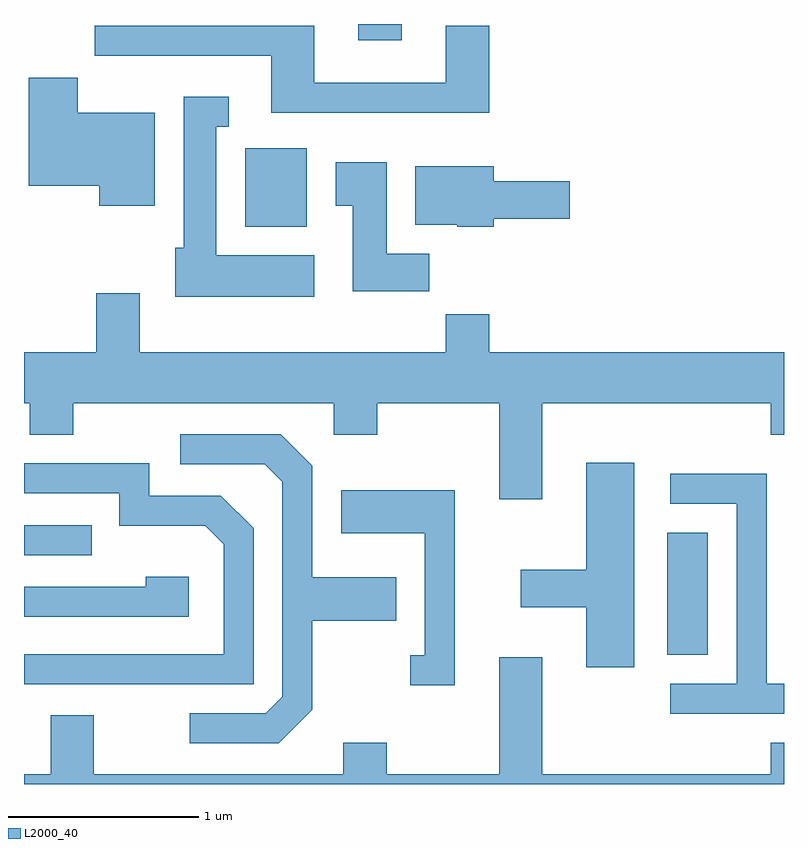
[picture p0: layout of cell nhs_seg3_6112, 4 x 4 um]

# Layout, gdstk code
import gdstk
lib = gdstk.Library(unit=1e-6, precision=1e-09)
def R(c, l, rs):  # rectangles x0, y0, x1, y1
    for r in rs: c.add(gdstk.rectangle(r[:2], r[2:], *l))
def P(c, l, *ps):  # polygons
    for p in ps: c.add(gdstk.Polygon(p, *l))
L2000_40 = (2000, 40)

nhs_seg3_6112 = lib.new_cell('nhs_seg3_6112')
R(nhs_seg3_6112, L2000_40, [(366.996,1244.571,367.209,1245.214), (363.611,1245.096,363.968,1245.254), (364.776,1246.826,365.099,1247.239), (365.371,1247.806,365.599,1247.892)])
P(nhs_seg3_6112, L2000_40, [(366.059,1247.884),(365.831,1247.884),(365.831,1247.584),(365.139,1247.584),(365.139,1247.884),(363.983,1247.884),(363.983,1247.726),(364.911,1247.726),(364.911,1247.426),(366.059,1247.426)],
  [(364.299,1247.424),(363.894,1247.424),(363.894,1247.609),(363.636,1247.609),(363.636,1247.041),(364.006,1247.041),(364.006,1246.936),(364.299,1246.936)],
  [(365.139,1246.674),(364.624,1246.674),(364.624,1247.351),(364.688,1247.351),(364.688,1247.509),(364.451,1247.509),(364.451,1246.714),(364.406,1246.714),(364.406,1246.456),(365.139,1246.456)],
  [(365.744,1246.684),(365.519,1246.684),(365.519,1247.164),(365.251,1247.164),(365.251,1246.936),(365.341,1246.936),(365.341,1246.486),(365.744,1246.486)],
  [(366.084,1246.866),(366.484,1246.866),(366.484,1247.064),(366.084,1247.064),(366.084,1247.144),(365.671,1247.144),(365.671,1246.836),(365.89,1246.836),(365.89,1246.826),(366.084,1246.826)],
  [(366.339,1245.896),(367.541,1245.896),(367.541,1245.731),(367.611,1245.731),(367.611,1246.164),(366.059,1246.164),(366.059,1246.364),(365.831,1246.364),(365.831,1246.164),(364.219,1246.164),(364.219,1246.474),(363.991,1246.474),(363.991,1246.164),(363.611,1246.164),(363.611,1245.896),(363.641,1245.896),(363.641,1245.731),(363.869,1245.731),(363.869,1245.896),(365.241,1245.896),(365.241,1245.731),(365.469,1245.731),(365.469,1245.896),(366.111,1245.896),(366.111,1245.391),(366.339,1245.391)],
  [(365.129,1244.284),(365.129,1244.751),(365.569,1244.751),(365.569,1244.979),(365.129,1244.979),(365.129,1245.567),(364.962,1245.734),(364.433,1245.734),(364.433,1245.576),(364.879,1245.576),(364.971,1245.484),(364.971,1244.352),(364.884,1244.264),(364.483,1244.264),(364.483,1244.106),(364.952,1244.106)],
  [(366.824,1245.584),(366.571,1245.584),(366.571,1245.019),(366.226,1245.019),(366.226,1244.821),(366.571,1244.821),(366.571,1244.506),(366.824,1244.506)],
  [(364.819,1245.237),(364.647,1245.409),(364.269,1245.409),(364.269,1245.579),(363.611,1245.579),(363.611,1245.421),(364.111,1245.421),(364.111,1245.251),(364.564,1245.251),(364.661,1245.154),(364.661,1244.574),(363.611,1244.574),(363.611,1244.416),(364.819,1244.416)],
  [(367.611,1244.419),(367.519,1244.419),(367.519,1245.524),(367.013,1245.524),(367.013,1245.366),(367.361,1245.366),(367.361,1244.419),(367.013,1244.419),(367.013,1244.261),(367.611,1244.261)],
  [(365.879,1245.439),(365.281,1245.439),(365.281,1245.211),(365.721,1245.211),(365.721,1244.569),(365.643,1244.569),(365.643,1244.411),(365.879,1244.411)],
  [(364.479,1244.984),(364.251,1244.984),(364.251,1244.929),(363.611,1244.929),(363.611,1244.771),(364.479,1244.771)],
  [(367.611,1244.109),(367.541,1244.109),(367.541,1243.944),(366.339,1243.944),(366.339,1244.559),(366.111,1244.559),(366.111,1243.944),(365.519,1243.944),(365.519,1244.109),(365.291,1244.109),(365.291,1243.944),(363.979,1243.944),(363.979,1244.254),(363.751,1244.254),(363.751,1243.944),(363.611,1243.944),(363.611,1243.892),(367.611,1243.892)])

lib.write_gds('nhs_seg3_6112.gds')
